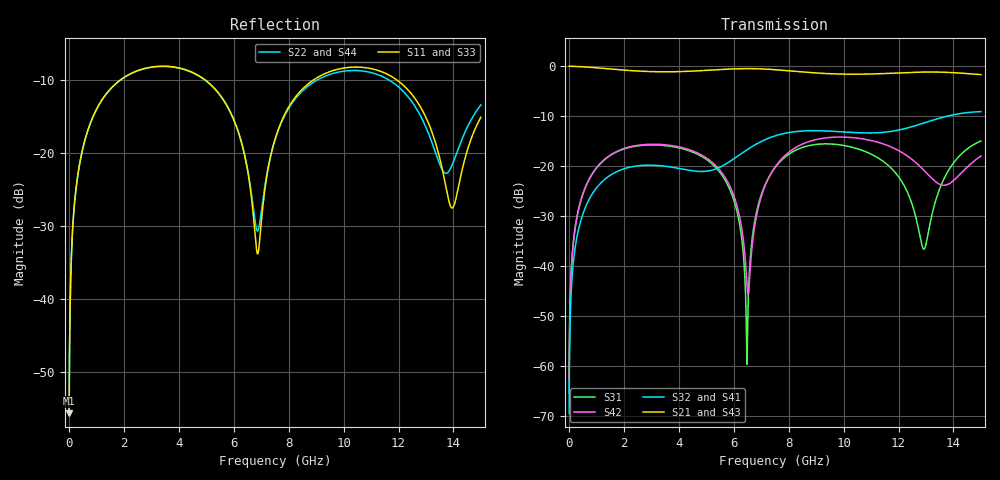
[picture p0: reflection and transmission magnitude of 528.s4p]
! Created with skrf 1.8.0 (http://scikit-rf.org).
# GHz S RI R 50.0
!freq ReS11 ImS11 ReS12 ImS12 ReS13 ImS13
! ReS14 ImS14
! ReS21 ImS21 ReS22 ImS22 ReS23 ImS23
! ReS24 ImS24
! ReS31 ImS31 ReS32 ImS32 ReS33 ImS33
! ReS34 ImS34
! ReS41 ImS41 ReS42 ImS42 ReS43 ImS43
! ReS44 ImS44
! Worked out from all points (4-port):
!   2499 points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, 5 MHz to 15 GHz, reference 50 ohm
!   strongest paths, dB at 5 MHz, 3.476 GHz, 7.19 GHz, 11.1 GHz, 15 GHz:
!     S21: 0.0, -1.1, -0.6, -1.6, -1.7
!     S43: 0.0, -1.1, -0.6, -1.6, -1.7
!     S32: -69.4, -20.0, -14.6, -13.4, -9.1
!     S41: -69.4, -20.1, -14.6, -13.4, -9.1
!     S42: -65.4, -15.7, -23.3, -15.0, -18.0
!     S31: -65.4, -15.9, -23.2, -17.9, -15.0
!   lowest |S11| = -55.7 dB at 5 MHz (marker M1), VSWR 1.00, Z = 50.1 + j0.0993 ohm
!   |S11| at or under -10 dB: start of sweep to 1.885 GHz; 4.947 GHz to 8.919 GHz (3.971 GHz wide, 57.3 % of centre); 11.93 GHz to end of sweep
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0.005  0.00131 0.00099  0.9987 -0.00254  6.52e-05 0.000536  -6.33e-05 -0.000332
       0.9987 -0.00254  0.00131 0.00099  -6.33e-05 -0.000332  6.53e-05 0.000536
       6.52e-05 0.000536  -6.33e-05 -0.000332  0.00131 0.00099  0.9987 -0.00254
       -6.33e-05 -0.000332  6.53e-05 0.000536  0.9987 -0.00254  0.00131 0.00099
0.4126719  0.025 0.085  0.9654 -0.2077  0.0121 0.0418  -0.0101 -0.0255
           0.9654 -0.2077  0.0249 0.085  -0.0101 -0.0255  0.0124 0.0417
           0.0121 0.0418  -0.0101 -0.0255  0.025 0.085  0.9654 -0.2077
           -0.0101 -0.0255  0.0124 0.0417  0.9654 -0.2077  0.025 0.085
2.025844  0.2809 0.1726  0.5246 -0.7446  0.135 0.0638  -0.0944 -0.00169
          0.5246 -0.7446  0.2792 0.174  -0.0945 -0.00147  0.1391 0.0579
          0.135 0.0638  -0.0945 -0.00147  0.2808 0.1728  0.5246 -0.7446
          -0.0944 -0.00169  0.1391 0.0579  0.5246 -0.7446  0.2794 0.1739
5.514798  0.1632 -0.1847  -0.6907 -0.6148  0.0481 -0.0703  -0.045 0.0866
          -0.6907 -0.6148  0.1686 -0.1775  -0.0432 0.0882  0.0376 -0.0815
          0.0481 -0.0703  -0.0432 0.0882  0.1644 -0.1844  -0.6904 -0.6149
          -0.045 0.0866  0.0376 -0.0815  -0.6904 -0.6149  0.1684 -0.179
6.477699  0.0329 -0.0736  -0.911 -0.2483  -0.000989 -0.000499  -0.0354 0.1412
          -0.911 -0.2483  0.0415 -0.0702  -0.0321 0.1421  -0.0055 -0.00431
          -0.000989 -0.000499  -0.0321 0.1421  0.0347 -0.0745  -0.9108 -0.2488
          -0.0354 0.1412  -0.0055 -0.00431  -0.9108 -0.2488  0.0404 -0.0719
6.871613  0.0202 -0.000317  -0.9384 -0.0679  0.00487 0.0387  -0.0093 0.1689
          -0.9384 -0.0679  0.0291 0.000214  -0.00547 0.169  0.0059 0.0358
          0.00487 0.0387  -0.00547 0.169  0.0219 -0.00195  -0.9383 -0.0686
          -0.0093 0.1689  0.0059 0.0358  -0.9383 -0.0686  0.0276 -0.00133
15  0.1224 0.1248  0.7583 -0.3176  0.1573 0.084  -0.1621 -0.3096
    0.7583 -0.3176  0.1673 0.1306  -0.1761 -0.3036  0.0924 0.0858
    0.1573 0.084  -0.1761 -0.3036  0.1173 0.1234  0.7582 -0.3183
    -0.1621 -0.3096  0.0924 0.0858  0.7582 -0.3183  0.17 0.131
